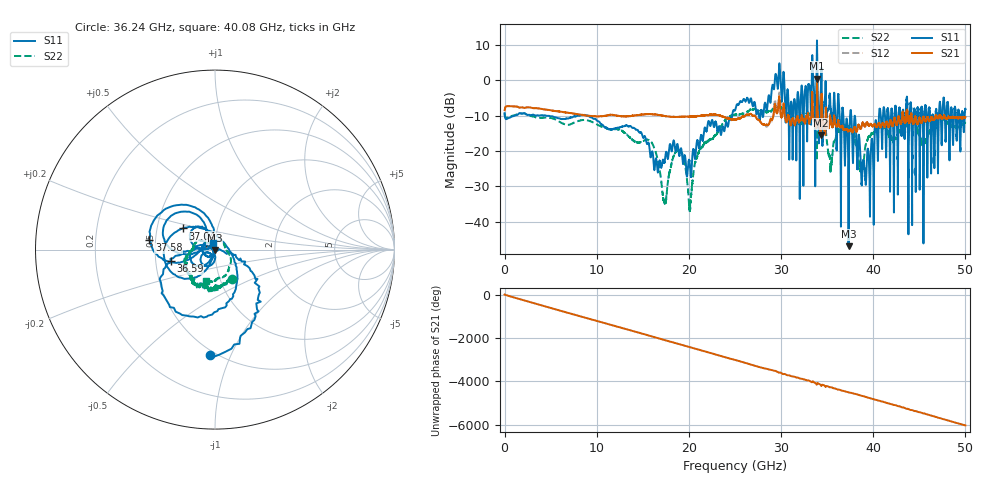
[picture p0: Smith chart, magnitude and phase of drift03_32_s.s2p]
!Created with skrf (http://scikit-rf.org).
# Hz S RI R 50.0
!freq ReS11 ImS11 ReS21 ImS21 ReS12 ImS12 ReS22 ImS22
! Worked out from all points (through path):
!   10001 points, 300 kHz to 50 GHz, reference 50 ohm
!   highest |S21| = 0.48 dB at 33.9 GHz (marker M1); lowest = -15.6 dB at 34.32 GHz (marker M2)
!   group delay of S21, straight-line fit = 335 ps
!   lowest |S11| = -46.9 dB at 37.32 GHz (marker M3), VSWR 1.01, Z = 49.7 - j0.368 ohm
!   |S11| at or under -10 dB: 4.469 GHz to 7.948 GHz (3.479 GHz wide, 56 % of centre); 9.008 GHz to 24.7 GHz (15.69 GHz wide, 93.1 % of centre); 37.62 GHz to 40.62 GHz (3.004 GHz wide, 7.68 % of centre) (the widest 3 of 60)
!   |S22| runs from -37.2 to -5.9 dB; largest |S21 - S12| = 0.11
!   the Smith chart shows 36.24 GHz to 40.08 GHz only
!   S11 on the Smith chart (normalised r, x): 36.24 GHz: 0.46, -0.84; 36.59 GHz: 0.60, -0.08; 37.04 GHz: 0.68, +0.17; 37.58 GHz: 0.46, +0.06; 40.08 GHz: 0.97, +0.08
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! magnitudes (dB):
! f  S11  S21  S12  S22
! 300 kHz  -9.3  -8.5  -8.5  -9.3
! 8.335 GHz  -9.8  -9.8  -9.8  -11.3
! 16.67 GHz  -25.5  -9.8  -9.8  -23.4
! 17.38 GHz  -22.9  -10.1  -10.1  -34.7
! 19.06 GHz  -20.0  -10.3  -10.3  -20.0
! 20.12 GHz  -24.4  -10.3  -10.3  -37.0
! 21.18 GHz  -18.1  -10.1  -10.1  -19.7
! 25 GHz  -8.6  -11.1  -11.1  -9.8
! 31.08 GHz  -6.1  -12.7  -12.7  -10.5
! 33.34 GHz  0.5  -7.5  -7.6  -9.5
! 33.9 GHz  11.2  0.5  0.0  -22.7
! 34.32 GHz  -2.8  -15.6  -15.0  -11.3
! 35.34 GHz  -6.0  -10.4  -9.9  -24.5
! 36.24 GHz  -4.6  -11.8  -11.7  -14.5
! 36.59 GHz  -11.9  -13.1  -13.0  -13.4
! 37.04 GHz  -13.3  -13.8  -14.0  -13.7
! 37.32 GHz  -46.9  -14.4  -14.5  -13.3
! 37.58 GHz  -8.7  -13.9  -13.8  -14.4
! 38.71 GHz  -27.6  -13.5  -13.4  -25.4
! 40.08 GHz  -27.7  -12.7  -12.7  -14.9
! 41.67 GHz  -9.6  -13.3  -13.3  -15.2
! 50 GHz  -8.2  -10.5  -10.5  -12.1
